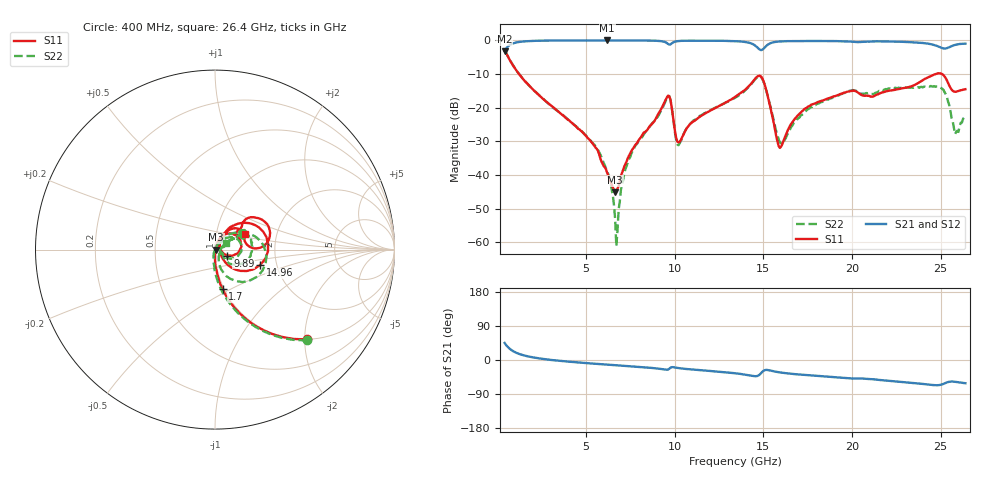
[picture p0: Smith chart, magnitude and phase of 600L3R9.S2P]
!  American Technical Ceramics  Date:  10/27/06
!  One Norden Lane
!  Huntington Station,  NY.  11746-2102
!  Tel:  (631) 622-4700  Fax:  (631) 622-4748
!  Part Number  600L3R9		Mounting Orientation:  Horizontal
!  Description: Ultra Low ESR Microwave capacitors
!  Application: Coupling, Bypass, Tuning, DC Block
!  Filters, Matching
# GHZ S DB R 50
! Freq  |S11|  S11 Ph  |S21|  S21 Ph  |S12|  S12 Ph  |S22|  S22 Ph
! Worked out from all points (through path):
!   401 points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, 400 MHz to 26.4 GHz, reference 50 ohm
!   highest |S21| = -0.03 dB at 6.185 GHz (marker M1); lowest = -3.2 dB at 400 MHz (marker M2)
!   group delay of S21, straight-line fit = 8.17 ps
!   lowest |S11| = -45.1 dB at 6.64 GHz (marker M3), VSWR 1.01, Z = 50.6 - j0.0775 ohm
!   |S11| at or under -10 dB: 1.212 GHz to 24.73 GHz (23.51 GHz wide, 181 % of centre); 25.08 GHz to end of sweep
!   |S22| runs from -61.2 to -2.8 dB; largest |S21 - S12| = 0.0086
!   S11 on the Smith chart (normalised r, x): 400 MHz: 1.00, -2.05; 1.7 GHz: 0.98, -0.46; 9.89 GHz: 1.15, -0.08; 14.96 GHz: 1.63, -0.30; 26.4 GHz: 1.37, +0.25
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0.4  -2.91 -44.4  -3.22 45.0  -3.19 45.0  -2.84 -44.6
1.7  -13.00 -79.2  -0.23 9.7  -0.20 9.6  -12.95 -81.2
4.755  -27.11 -90.0  -0.04 -7.3  -0.02 -7.5  -26.97 -101.2
6.185  -39.34 -66.1  -0.03 -12.2  -0.04 -12.4  -38.96 -109.6
6.64  -45.12 -7.9  -0.04 -13.7  -0.04 -14.0  -53.36 -126.5
6.77  -44.03 20.2  -0.04 -14.1  -0.05 -14.4  -56.36 76.3
7.095  -38.37 50.7  -0.04 -15.2  -0.05 -15.5  -41.25 69.0
7.485  -33.62 61.5  -0.04 -16.5  -0.06 -16.9  -34.70 64.6
9.11  -21.48 64.1  -0.17 -23.1  -0.21 -23.4  -22.10 48.7
9.63  -16.42 20.8  -1.09 -24.9  -1.13 -25.3  -16.53 11.3
9.89  -22.27 -25.5  -0.68 -18.8  -0.71 -19.2  -22.22 -36.5
10.215  -30.34 19.7  -0.20 -21.3  -0.24 -21.6  -31.16 11.5
11.125  -23.88 57.2  -0.10 -25.6  -0.12 -25.7  -23.63 52.8
13.4  -16.83 56.6  -0.23 -34.9  -0.26 -35.0  -17.09 41.2
14.44  -12.03 35.1  -1.21 -42.3  -1.25 -42.4  -12.22 14.9
14.96  -11.52 -19.0  -2.72 -30.2  -2.75 -30.2  -11.68 -41.0
15.935  -31.96 4.3  -0.33 -32.7  -0.36 -32.7  -30.31 -35.2
17.755  -19.03 58.6  -0.19 -40.9  -0.24 -40.8  -19.79 31.6
22.11  -14.93 39.1  -0.36 -54.9  -0.40 -54.5  -14.25 35.3
24.905  -9.77 23.1  -1.90 -66.3  -1.93 -65.8  -13.93 -6.1
25.88  -15.24 19.0  -1.27 -57.9  -1.30 -57.5  -27.18 -9.2
26.4  -14.51 28.1  -0.99 -61.3  -1.01 -60.9  -23.03 28.8
